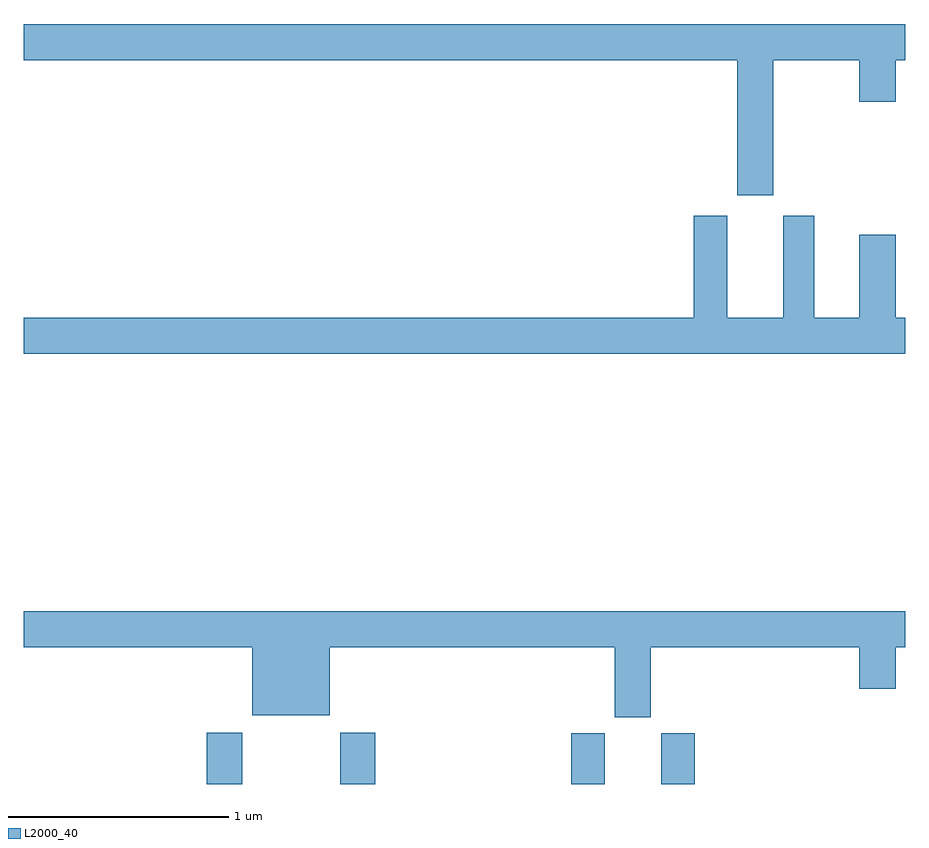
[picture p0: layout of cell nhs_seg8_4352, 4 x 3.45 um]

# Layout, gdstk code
import gdstk
lib = gdstk.Library(unit=1e-6, precision=1e-09)
def R(c, l, rs):  # rectangles x0, y0, x1, y1
    for r in rs: c.add(gdstk.rectangle(r[:2], r[2:], *l))
def P(c, l, *ps):  # polygons
    for p in ps: c.add(gdstk.Polygon(p, *l))
L2000_40 = (2000, 40)

nhs_seg8_4352 = lib.new_cell('nhs_seg8_4352')
R(nhs_seg8_4352, L2000_40, [(377.831,1095.9,377.991,1096.132), (378.436,1095.9,378.596,1096.132), (379.484,1095.9,379.636,1096.131), (379.892,1095.9,380.045,1096.131)])
P(nhs_seg8_4352, L2000_40, [(380.401,1099.184),(380.792,1099.184),(380.792,1098.996),(380.956,1098.996),(380.956,1099.184),(381,1099.184),(381,1099.348),(377,1099.348),(377,1099.184),(380.237,1099.184),(380.237,1098.57),(380.401,1098.57)],
  [(381,1098.016),(380.956,1098.016),(380.956,1098.391),(380.792,1098.391),(380.792,1098.016),(380.587,1098.016),(380.587,1098.478),(380.447,1098.478),(380.447,1098.016),(380.191,1098.016),(380.191,1098.478),(380.039,1098.478),(380.039,1098.016),(377,1098.016),(377,1097.852),(381,1097.852)],
  [(379.846,1096.52),(380.792,1096.52),(380.792,1096.332),(380.956,1096.332),(380.956,1096.52),(381,1096.52),(381,1096.684),(377,1096.684),(377,1096.52),(378.038,1096.52),(378.038,1096.211),(378.388,1096.211),(378.388,1096.52),(379.682,1096.52),(379.682,1096.203),(379.846,1096.203)])

lib.write_gds('nhs_seg8_4352.gds')
